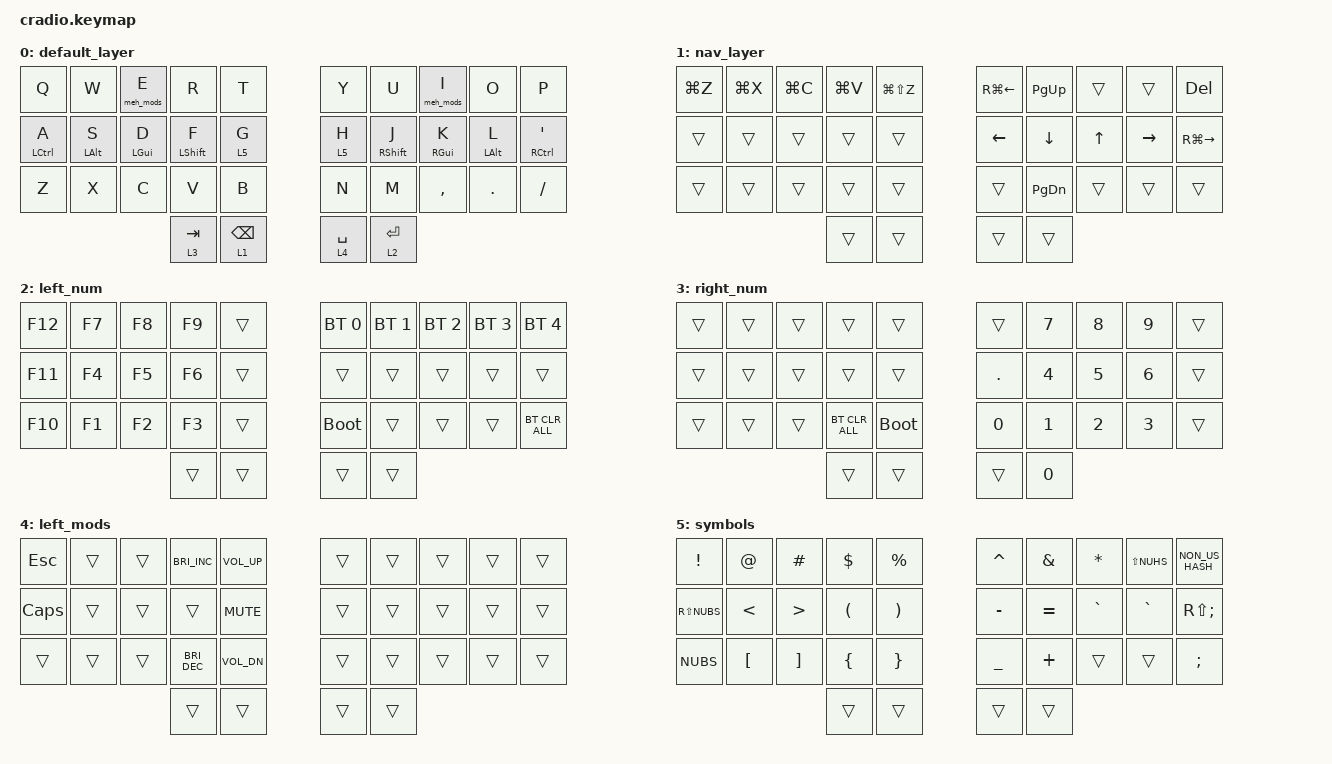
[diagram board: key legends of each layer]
/*
 * Copyright (c) 2020 The ZMK Contributors
 *
 * SPDX-License-Identifier: MIT
 */

#undef ZMK_BEHAVIORS_KEEP_ALL

#include <behaviors.dtsi>
#include <dt-bindings/zmk/keys.h>
#include <dt-bindings/zmk/bt.h>

#define NAV_L 1
#define OTHER_L 2
#define NUM_L 3
#define SYM_L 4

// Using layer taps on thumbs, having quick tap as well helps w/ repeating space/backspace
&lt { quick-tap-ms = <200>; };

/ {
    behaviors {
        hm: homerow_mods {
            compatible = "zmk,behavior-hold-tap";
            #binding-cells = <2>;
            tapping-term-ms = <200>;
            flavor = "tap-preferred";
            bindings = <&kp>, <&kp>;
        };

        meh: control_option_command {
            compatible = "zmk,behavior-hold-tap";
            #binding-cells = <2>;
            tapping-term-ms = <200>;
            flavor = "tap-preferred";
            bindings = <&meh_mods>, <&kp>;
        };
    };

    macros {
        meh_mods: meh_mods {
            compatible = "zmk,behavior-macro";
            #binding-cells = <0>;
            wait-ms = <0>;
            tap-ms = <0>;
            bindings = <&macro_press &kp LEFT_CONTROL &kp LALT &kp LEFT_GUI>,
                       <&macro_pause_for_release>,
                       <&macro_release &kp LEFT_CONTROL &kp LALT &kp LEFT_GUI>;
        };
    };

    keymap {
        compatible = "zmk,keymap";

        default_layer {
            bindings = <
&kp Q               &kp W       &meh 0 E           &kp R        &kp T              &kp Y        &kp U        &meh 0 I            &kp O       &kp P
&hm LEFT_CONTROL A  &hm LALT S  &hm LEFT_GUI D  &hm LSHFT F  &lt 5 G            &lt 5 H      &hm RSHFT J  &hm RIGHT_GUI K  &hm LALT L  &hm RIGHT_CONTROL APOSTROPHE
&kp Z               &kp X       &kp C           &kp V        &kp B              &kp N        &kp M        &kp COMMA        &kp DOT     &kp FSLH
                                                &lt 3 TAB    &lt 1 BACKSPACE    &lt 4 SPACE  &lt 2 ENTER
            >;
        };

        nav_layer {
            bindings = <
&kp LG(Z)  &kp LG(X)  &kp LG(C)  &kp LG(V)  &kp LG(LS(Z))    &kp RG(LEFT_ARROW)  &kp PAGE_UP    &trans    &trans     &kp DELETE
&trans     &trans     &trans     &trans     &trans           &kp LEFT            &kp DOWN       &kp UP    &kp RIGHT  &kp RG(RIGHT_ARROW)
&trans     &trans     &trans     &trans     &trans           &trans              &kp PAGE_DOWN  &trans    &trans     &trans
                                 &trans     &trans           &trans              &trans
            >;
        };

        left_num {
            bindings = <
&kp F12  &kp F7  &kp F8  &kp F9  &trans    &bt BT_SEL 0  &bt BT_SEL 1  &bt BT_SEL 2  &bt BT_SEL 3  &bt BT_SEL 4
&kp F11  &kp F4  &kp F5  &kp F6  &trans    &trans        &trans        &trans        &trans        &trans
&kp F10  &kp F1  &kp F2  &kp F3  &trans    &bootloader   &trans        &trans        &trans        &bt BT_CLR_ALL
                         &trans  &trans    &trans        &trans
            >;
        };

        right_num {
            bindings = <
&trans  &trans  &trans  &trans          &trans         &trans   &kp N7  &kp N8  &kp N9  &trans
&trans  &trans  &trans  &trans          &trans         &kp DOT  &kp N4  &kp N5  &kp N6  &trans
&trans  &trans  &trans  &bt BT_CLR_ALL  &bootloader    &kp N0   &kp N1  &kp N2  &kp N3  &trans
                        &trans          &trans         &trans   &kp N0
            >;
        };

        left_mods {
            bindings = <
&kp ESC   &trans  &trans  &kp C_BRI_INC     &kp C_VOLUME_UP     &trans  &trans  &trans  &trans &trans
&kp CAPS  &trans  &trans  &trans            &kp K_MUTE          &trans  &trans  &trans  &trans &trans
&trans    &trans  &trans  &kp C_BRI_DEC     &kp C_VOL_DN        &trans  &trans  &trans  &trans &trans
                          &trans  &trans    &trans  &trans
            >;
        };


        symbols {
            bindings = <
&kp EXCLAMATION  &kp AT_SIGN       &kp HASH           &kp DOLLAR            &kp PERCENT              &kp CARET  &kp AMPERSAND  &kp ASTERISK  &kp LS(NUHS)  &kp NON_US_HASH
&kp RS(NUBS)     &kp LESS_THAN     &kp GREATER_THAN   &kp LEFT_PARENTHESIS  &kp RIGHT_PARENTHESIS    &kp MINUS  &kp EQUAL      &kp GRAVE     &kp GRAVE     &kp RS(SEMICOLON)
&kp NUBS         &kp LEFT_BRACKET  &kp RIGHT_BRACKET  &kp LEFT_BRACE        &kp RIGHT_BRACE          &kp UNDER  &kp PLUS       &trans        &trans        &kp SEMICOLON
                                                      &trans                &trans                   &trans     &trans
            >;
        };
    };
};
